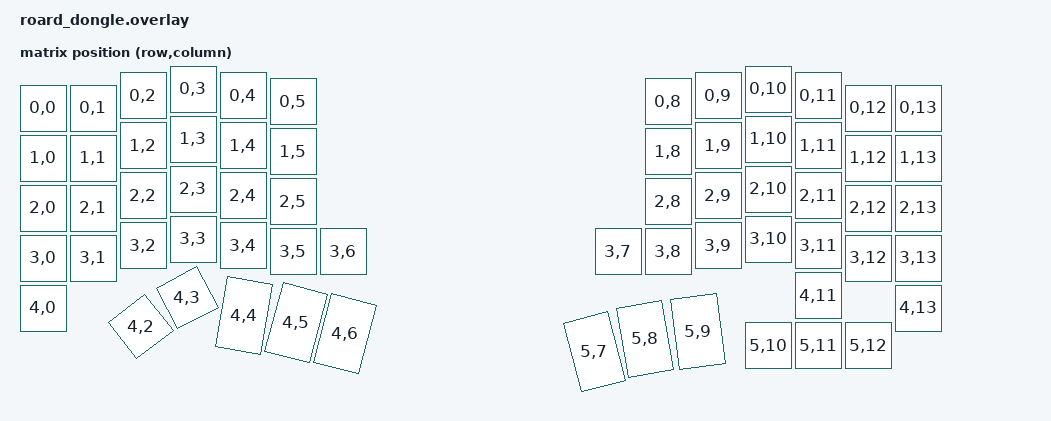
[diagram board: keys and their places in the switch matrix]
#include <dt-bindings/zmk/matrix_transform.h>
#include <physical_layouts.dtsi>

/ {
    chosen {
        zmk,kscan = &mock_kscan;
        zmk,physical-layout = &dongle_layout;
    };

    mock_kscan: mock_kscan_0 {
        compatible = "zmk,kscan-mock";
        columns = <0>;
        rows = <0>;
        events = <0>;
    };

    default_transform: keymap_transform {
        compatible = "zmk,matrix-transform";
        rows = <6>;
        columns = <14>;

        map = <
            RC(0,0) RC(0,1) RC(0,2) RC(0,3) RC(0,4) RC(0,5)                      RC(0,8) RC(0,9) RC(0,10) RC(0,11) RC(0,12) RC(0,13)

            RC(1,0) RC(1,1) RC(1,2) RC(1,3) RC(1,4) RC(1,5)                      RC(1,8) RC(1,9) RC(1,10) RC(1,11) RC(1,12) RC(1,13)

            RC(2,0) RC(2,1) RC(2,2) RC(2,3) RC(2,4) RC(2,5)                      RC(2,8) RC(2,9) RC(2,10) RC(2,11) RC(2,12) RC(2,13)

            RC(3,0) RC(3,1) RC(3,2) RC(3,3) RC(3,4) RC(3,5) RC(3,6)      RC(3,7) RC(3,8) RC(3,9) RC(3,10) RC(3,11) RC(3,12) RC(3,13)

            RC(4,0)         RC(4,2) RC(4,3) RC(4,4) RC(4,5) RC(4,6)                                       RC(4,11)          RC(4,13)

                                                                         RC(5,7) RC(5,8) RC(5,9) RC(5,10) RC(5,11) RC(5,12)
        >;
    };

    dongle_layout: dongle_layout {
        compatible = "zmk,physical-layout";
        display-name = "roard";
        transform = <&default_transform>;

        keys = <
            /* Row 0 (12 keys) */
            &key_physical_attrs 100 100 50   38   0     0    0
            &key_physical_attrs 100 100 150  38   0     0    0
            &key_physical_attrs 100 100 250  13   0     0    0
            &key_physical_attrs 100 100 350  0    0     0    0
            &key_physical_attrs 100 100 450  13   0     0    0
            &key_physical_attrs 100 100 550  25   0     0    0
            &key_physical_attrs 100 100 1300 25   0     0    0
            &key_physical_attrs 100 100 1400 13   0     0    0
            &key_physical_attrs 100 100 1500 0    0     0    0
            &key_physical_attrs 100 100 1600 13   0     0    0
            &key_physical_attrs 100 100 1700 38   0     0    0
            &key_physical_attrs 100 100 1800 38   0     0    0

            /* Row 1 (12 keys) */
            &key_physical_attrs 100 100 50   138  0     0    0
            &key_physical_attrs 100 100 150  138  0     0    0
            &key_physical_attrs 100 100 250  113  0     0    0
            &key_physical_attrs 100 100 350  100  0     0    0
            &key_physical_attrs 100 100 450  113  0     0    0
            &key_physical_attrs 100 100 550  125  0     0    0
            &key_physical_attrs 100 100 1300 125  0     0    0
            &key_physical_attrs 100 100 1400 113  0     0    0
            &key_physical_attrs 100 100 1500 100  0     0    0
            &key_physical_attrs 100 100 1600 113  0     0    0
            &key_physical_attrs 100 100 1700 138  0     0    0
            &key_physical_attrs 100 100 1800 138  0     0    0

            /* Row 2 (12 keys) */
            &key_physical_attrs 100 100 50   238  0     0    0
            &key_physical_attrs 100 100 150  238  0     0    0
            &key_physical_attrs 100 100 250  213  0     0    0
            &key_physical_attrs 100 100 350  200  0     0    0
            &key_physical_attrs 100 100 450  213  0     0    0
            &key_physical_attrs 100 100 550  225  0     0    0
            &key_physical_attrs 100 100 1300 225  0     0    0
            &key_physical_attrs 100 100 1400 213  0     0    0
            &key_physical_attrs 100 100 1500 200  0     0    0
            &key_physical_attrs 100 100 1600 213  0     0    0
            &key_physical_attrs 100 100 1700 238  0     0    0
            &key_physical_attrs 100 100 1800 238  0     0    0

            /* Row 3 (14 keys) */
            &key_physical_attrs 100 100 50   338  0     0    0
            &key_physical_attrs 100 100 150  338  0     0    0
            &key_physical_attrs 100 100 250  313  0     0    0
            &key_physical_attrs 100 100 350  300  0     0    0
            &key_physical_attrs 100 100 450  313  0     0    0
            &key_physical_attrs 100 100 550  325  0     0    0
            &key_physical_attrs 100 100 650  325  0     0    0
            &key_physical_attrs 100 100 1200 325  0     0    0
            &key_physical_attrs 100 100 1300 325  0     0    0
            &key_physical_attrs 100 100 1400 313  0     0    0
            &key_physical_attrs 100 100 1500 300  0     0    0
            &key_physical_attrs 100 100 1600 313  0     0    0
            &key_physical_attrs 100 100 1700 338  0     0    0
            &key_physical_attrs 100 100 1800 338  0     0    0

            /* Row 4 (8 keys) */
            &key_physical_attrs 100 100 50   438  0       0    0
            &key_physical_attrs 100 100 218  256  (-3800) 600  375
            &key_physical_attrs 100 100 320  307  (-2800) 600  375
            &key_physical_attrs 100 150 476  443  1000    600  375
            &key_physical_attrs 100 150 593  436  1500    600  375
            &key_physical_attrs 100 150 693  432  1500    600  375
            &key_physical_attrs 100 100 1600 413  0       0    0
            &key_physical_attrs 100 100 1800 438  0       0    0

            /* Row 5 (6 keys) */
            &key_physical_attrs 100 150 1107 449  (-1500) 1375 375
            &key_physical_attrs 100 150 1225 460  (-1000) 1375 375
            &key_physical_attrs 100 150 1340 463  (-700)  1375 375
            &key_physical_attrs 100 100 1500 513  0       0    0
            &key_physical_attrs 100 100 1600 513  0       0    0
            &key_physical_attrs 100 100 1700 513  0       0    0
        >;
    };
};

/ {
    esb_split {
        compatible = "zmk,esb-split";
        base-addr-0 = <0xE7 0xF1 0xB3 0x4C>;
        base-addr-1 = <0xC2 0x3D 0xA7 0x7B>;
        addr-prefix = <0xE7 0xC2 0x3C 0xC4 0x5D 0xA9 0xF5 0xC8>;
    };
};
